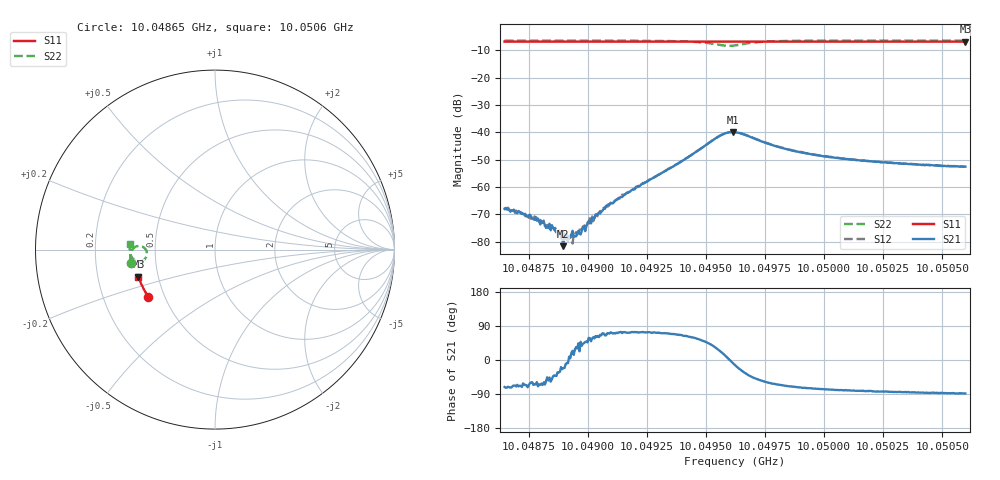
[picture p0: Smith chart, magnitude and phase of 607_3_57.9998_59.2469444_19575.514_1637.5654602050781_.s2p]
#  HZ  S  RI  R  50.00
! Rohde & Schwarz Vector Network Analyzer
! Rohde-Schwarz,ZNB20-2Port,1311601062101988,3.16
! Created: UTC 3/21/2024, 1:17:29 AM
! freq[Hz]  re:S11  im:S11  re:S21  im:S21  re:S12  im:S12  re:S22  im:S22
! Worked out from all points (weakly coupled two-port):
!   401 points, 10.04865 GHz to 10.0506 GHz, reference 50 ohm
!   highest |S21| = -39.93 dB at 10.04961 GHz (marker M1); lowest = -81.7 dB at 10.0489 GHz (marker M2)
!   lowest |S11| = -6.9 dB at 10.0506 GHz (marker M3), VSWR 2.65, Z = 19.3 - j7.28 ohm
!   |S11| at or under -10 dB: nowhere
!   |S22| runs from -8.4 to -6.4 dB; largest |S21 - S12| = 0.00076
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1.0048647e10  -0.3711 -0.2646  0.000127 -0.000373  0.00017 -0.000392  -0.4706 -0.0754
1.004876e10  -0.3752 -0.2583  0.000146 -0.000247  0.000111 -0.000235  -0.4714 -0.0668
1.0048784e10  -0.376 -0.2569  0.000126 -0.000204  0.000154 -0.000225  -0.4717 -0.065
1.0048828e10  -0.3776 -0.2544  0.000133 -0.000136  0.000121 -0.000155  -0.472 -0.0615
1.0048852e10  -0.3786 -0.2531  0.000129 -0.000121  0.000122 -0.000135  -0.4721 -0.0596
1.0048881e10  -0.3795 -0.2514  0.000127 -7.65e-05  0.000145 -6.29e-05  -0.4721 -0.057
1.0048896e10  -0.3801 -0.2506  7.65e-05 -3.05e-05  0.000136 -6.76e-05  -0.4722 -0.0559
1.004892e10  -0.3807 -0.2493  0.000115 1.79e-05  0.000114 -2.39e-05  -0.4723 -0.0539
1.0048925e10  -0.381 -0.2491  0.00013 1.04e-05  0.000111 3.88e-05  -0.4723 -0.0533
1.004895e10  -0.3819 -0.2475  0.000103 6.98e-05  0.00014 4.82e-05  -0.4724 -0.0513
1.0048974e10  -0.3826 -0.2462  0.000125 9.71e-05  0.0001 0.00013  -0.4725 -0.0493
1.0049028e10  -0.3845 -0.2433  0.000144 0.000223  7.14e-05 0.000267  -0.4725 -0.0446
1.0049086e10  -0.3865 -0.2399  0.000159 0.000451  0.000139 0.000419  -0.4723 -0.039
1.004914e10  -0.3883 -0.2367  0.000181 0.000633  0.000139 0.000645  -0.4718 -0.0337
1.0049301e10  -0.3934 -0.2274  0.000535 0.00159  0.000431 0.00162  -0.4679 -0.0143
1.0049554e10  -0.4004 -0.2123  0.00754 0.00371  0.00731 0.0042  -0.3976 0.0127
1.0049613e10  -0.4017 -0.2094  0.00998 -0.00137  0.0101 -0.000657  -0.3808 -0.0355
1.0049623e10  -0.4019 -0.2089  0.00973 -0.00234  0.00995 -0.00163  -0.3845 -0.044
1.0049813e10  -0.408 -0.198  0.00216 -0.00483  0.00247 -0.00473  -0.4619 -0.0456
1.0049949e10  -0.4118 -0.1898  0.00101 -0.00381  0.00125 -0.00374  -0.4712 -0.0251
1.0050276e10  -0.4198 -0.1699  0.000291 -0.00275  0.000439 -0.00274  -0.4753 0.00748
1.0050598e10  -0.4268 -0.1499  7.45e-05 -0.00234  0.000191 -0.00232  -0.4747 0.0325
